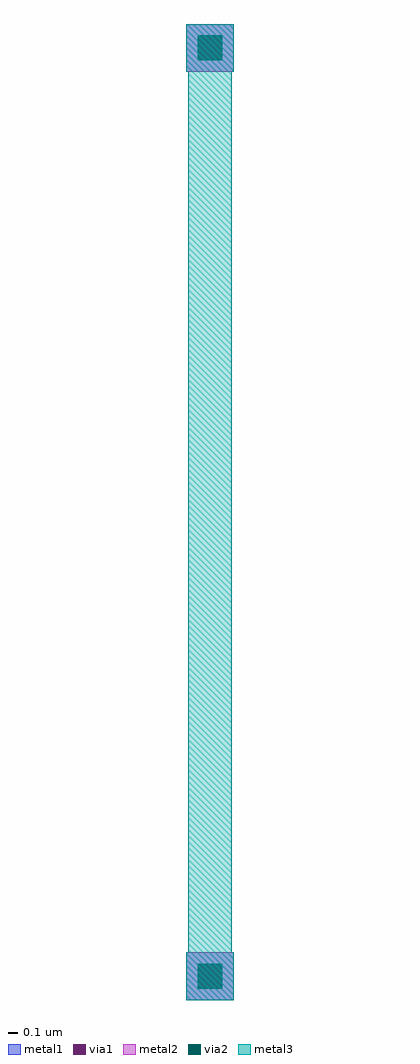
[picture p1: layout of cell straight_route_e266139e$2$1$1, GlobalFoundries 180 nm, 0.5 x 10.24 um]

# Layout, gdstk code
import gdstk
lib = gdstk.Library(unit=1e-6, precision=5e-09)
def R(c, l, rs):  # rectangles x0, y0, x1, y1
    for r in rs: c.add(gdstk.rectangle(r[:2], r[2:], *l))
metal1 = (34, 0)
via1 = (35, 0)
metal2 = (36, 0)
via2 = (38, 0)
metal3 = (42, 0)

straight_route_e266139e_ = lib.new_cell('straight_route_e266139e$2$1$1')
R(straight_route_e266139e_, metal1, [(1.86,-14.015,2.36,-13.515), (1.86,-4.275,2.36,-3.775)])
R(straight_route_e266139e_, via1, [(1.98,-13.895,2.24,-13.635), (1.98,-4.155,2.24,-3.895)])
R(straight_route_e266139e_, metal2, [(1.86,-14.015,2.36,-13.515), (1.86,-4.275,2.36,-3.775)])
R(straight_route_e266139e_, via2, [(1.98,-13.895,2.24,-13.635), (1.98,-4.155,2.24,-3.895)])
R(straight_route_e266139e_, metal3, [(1.86,-14.015,2.36,-13.515), (1.88,-13.515,2.34,-4.275), (1.86,-4.275,2.36,-3.775)])

lib.write_gds('straight_route_e266139e_2_1_1.gds')
